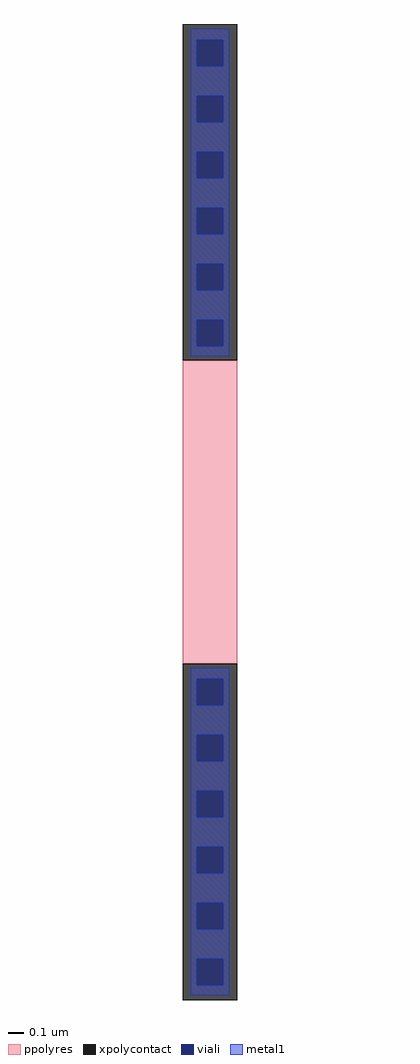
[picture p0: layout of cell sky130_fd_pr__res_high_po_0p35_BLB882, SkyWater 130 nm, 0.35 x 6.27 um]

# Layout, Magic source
magic
tech sky130A
magscale 1 2
<< xpolycontact >>
rect -35 195 35 627
rect -35 -627 35 -195
<< ppolyres >>
rect -35 -195 35 195
<< viali >>
rect -17 573 17 607
rect -17 501 17 535
rect -17 429 17 463
rect -17 357 17 391
rect -17 285 17 319
rect -17 213 17 247
rect -17 -248 17 -214
rect -17 -320 17 -286
rect -17 -392 17 -358
rect -17 -464 17 -430
rect -17 -536 17 -502
rect -17 -608 17 -574
<< metal1 >>
rect -25 607 25 621
rect -25 573 -17 607
rect 17 573 25 607
rect -25 535 25 573
rect -25 501 -17 535
rect 17 501 25 535
rect -25 463 25 501
rect -25 429 -17 463
rect 17 429 25 463
rect -25 391 25 429
rect -25 357 -17 391
rect 17 357 25 391
rect -25 319 25 357
rect -25 285 -17 319
rect 17 285 25 319
rect -25 247 25 285
rect -25 213 -17 247
rect 17 213 25 247
rect -25 200 25 213
rect -25 -214 25 -200
rect -25 -248 -17 -214
rect 17 -248 25 -214
rect -25 -286 25 -248
rect -25 -320 -17 -286
rect 17 -320 25 -286
rect -25 -358 25 -320
rect -25 -392 -17 -358
rect 17 -392 25 -358
rect -25 -430 25 -392
rect -25 -464 -17 -430
rect 17 -464 25 -430
rect -25 -502 25 -464
rect -25 -536 -17 -502
rect 17 -536 25 -502
rect -25 -574 25 -536
rect -25 -608 -17 -574
rect 17 -608 25 -574
rect -25 -621 25 -608
<< end >>
